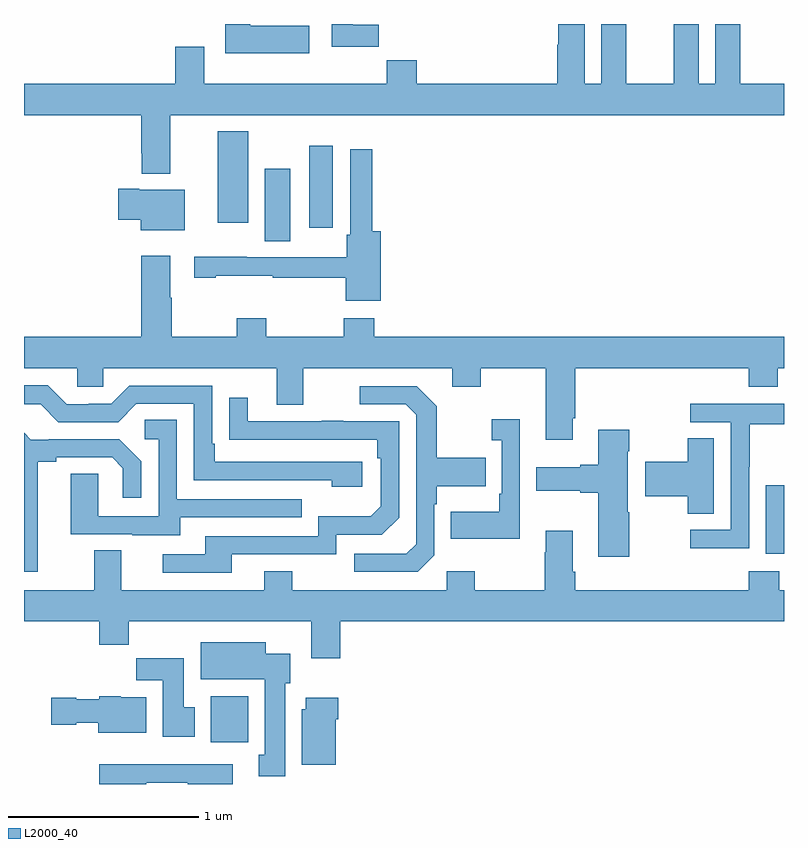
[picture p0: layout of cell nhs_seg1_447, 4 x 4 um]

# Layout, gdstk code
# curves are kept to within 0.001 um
import gdstk
lib = gdstk.Library(unit=1e-6, precision=1e-09)
def R(c, l, rs):  # rectangles x0, y0, x1, y1
    for r in rs: c.add(gdstk.rectangle(r[:2], r[2:], *l))
def P(c, l, *ps):  # polygons
    for p in ps: c.add(gdstk.Polygon(p, *l))
L2000_40 = (2000, 40)

nhs_seg1_447 = lib.new_cell('nhs_seg1_447')
R(nhs_seg1_447, L2000_40, [(135.983,560.42,136.18,560.662), (138.905,561.41,139,561.771), (136.268,563.056,136.402,563.437), (136.502,563.127,136.624,563.557), (136.019,563.154,136.18,563.635)])
P(nhs_seg1_447, L2000_40, [(136.501,564.19),(136.192,564.19),(136.192,564.199),(136.058,564.199),(136.058,564.044),(136.501,564.044)],
  [(136.868,564.196),(136.729,564.196),(136.729,564.199),(136.619,564.199),(136.619,564.078),(136.868,564.078)],
  [(135.769,563.72),(139,563.72),(139,563.884),(138.769,563.884),(138.769,564.199),(138.638,564.199),(138.638,563.884),(138.55,563.884),(138.55,564.199),(138.419,564.199),(138.419,563.884),(138.169,563.884),(138.169,564.199),(138.038,564.199),(138.038,563.884),(137.95,563.884),(137.95,564.199),(137.813,564.199),(137.813,564.089),(137.807,564.089),(137.807,563.884),(137.066,563.884),(137.066,564.008),(136.909,564.008),(136.909,563.884),(135.949,563.884),(135.949,564.079),(135.797,564.079),(135.797,563.884),(135,563.884),(135,563.72),(135.617,563.72),(135.617,563.518),(135.62,563.518),(135.62,563.411),(135.769,563.411)],
  [(136.877,563.107),(136.832,563.107),(136.832,563.539),(136.716,563.539),(136.716,563.091),(136.699,563.091),(136.699,562.972),(136.506,562.972),(136.506,562.971),(136.172,562.971),(136.172,562.973),(135.897,562.973),(135.897,562.863),(136.009,562.863),(136.009,562.873),(136.31,562.873),(136.31,562.863),(136.694,562.863),(136.694,562.743),(136.877,562.743)],
  [(135.847,563.326),(135.607,563.326),(135.607,563.331),(135.495,563.331),(135.495,563.168),(135.614,563.168),(135.614,563.114),(135.847,563.114)],
  [(137.887,562.123),(137.9,562.123),(137.9,562.388),(138.815,562.388),(138.815,562.289),(138.967,562.289),(138.967,562.388),(139,562.388),(139,562.552),(136.844,562.552),(136.844,562.651),(136.684,562.651),(136.684,562.552),(136.275,562.552),(136.275,562.651),(136.12,562.651),(136.12,562.552),(135.777,562.552),(135.777,562.757),(135.769,562.757),(135.769,562.978),(135.617,562.978),(135.617,562.552),(135,562.552),(135,562.388),(135.279,562.388),(135.279,562.29),(135.417,562.29),(135.417,562.388),(136.331,562.388),(136.331,562.194),(136.471,562.194),(136.471,562.388),(137.255,562.388),(137.255,562.289),(137.403,562.289),(137.403,562.388),(137.747,562.388),(137.747,562.011),(137.887,562.011)],
  [(136.78,561.894),(136.003,561.894),(136.003,561.991),(135.99,561.991),(135.99,562.296),(135.555,562.296),(135.459,562.2),(135.341,562.2),(135.341,562.197),(135.225,562.197),(135.125,562.297),(135,562.297),(135,562.197),(135.087,562.197),(135.18,562.104),(135.495,562.104),(135.591,562.2),(135.894,562.2),(135.894,561.798),(136.619,561.798),(136.619,561.764),(136.78,561.764)],
  [(137.16,561.402),(137.16,561.671),(137.173,561.671),(137.173,561.767),(137.429,561.767),(137.429,561.915),(137.173,561.915),(137.173,562.187),(137.067,562.293),(136.767,562.293),(136.767,562.197),(137.01,562.197),(137.064,562.143),(137.064,561.462),(137.013,561.411),(136.737,561.411),(136.737,561.315),(137.073,561.315)],
  [(136.093,561.408),(136.644,561.408),(136.644,561.51),(136.884,561.51),(136.974,561.6),(136.974,562.107),(136.679,562.107),(136.679,562.112),(136.567,562.112),(136.567,562.107),(136.177,562.107),(136.177,562.231),(136.081,562.231),(136.081,562.012),(136.858,562.011),(136.858,561.914),(136.878,561.914),(136.878,561.66),(136.825,561.607),(136.548,561.607),(136.548,561.504),(135.953,561.504),(135.953,561.408),(135.729,561.408),(135.729,561.312),(136.093,561.312)],
  [(138.816,561.868),(138.819,561.868),(138.819,562.092),(139,562.092),(139,562.2),(138.507,562.2),(138.507,562.104),(138.72,562.104),(138.72,561.537),(138.507,561.537),(138.507,561.439),(138.816,561.439)],
  [(137.61,562.12),(137.463,562.12),(137.463,562.007),(137.514,562.007),(137.514,561.727),(137.502,561.727),(137.502,561.631),(137.245,561.631),(137.245,561.491),(137.61,561.491)],
  [(135.823,561.603),(136.463,561.603),(136.463,561.699),(135.804,561.699),(135.804,562.115),(135.636,562.115),(135.636,562.014),(135.708,562.014),(135.708,561.609),(135.39,561.609),(135.39,561.833),(135.245,561.833),(135.245,561.513),(135.569,561.513),(135.569,561.509),(135.823,561.509)],
  [(138.186,561.629),(138.178,561.629),(138.178,561.95),(138.186,561.95),(138.186,562.063),(138.023,562.063),(138.023,561.878),(137.927,561.878),(137.927,561.865),(137.697,561.865),(137.697,561.743),(137.927,561.743),(137.927,561.731),(138.023,561.731),(138.023,561.396),(138.186,561.396)],
  [(135.073,561.896),(135.169,561.896),(135.169,561.918),(135.464,561.918),(135.521,561.861),(135.521,561.705),(135.618,561.705),(135.618,561.898),(135.502,562.014),(135.13,562.014),(135.13,562.011),(135.036,562.011),(135,562.047),(135,561.315),(135.073,561.315)],
  [(138.631,562.019),(138.493,562.019),(138.493,561.896),(138.27,561.896),(138.27,561.713),(138.493,561.713),(138.493,561.622),(138.631,561.622)],
  [(136.664,561.056),(139,561.056),(139,561.22),(138.975,561.22),(138.975,561.319),(138.815,561.319),(138.815,561.22),(137.9,561.22),(137.9,561.316),(137.887,561.316),(137.887,561.532),(137.747,561.532),(137.747,561.419),(137.74,561.419),(137.74,561.22),(137.373,561.22),(137.373,561.319),(137.226,561.319),(137.226,561.22),(136.413,561.22),(136.413,561.319),(136.265,561.319),(136.265,561.22),(135.511,561.22),(135.511,561.428),(135.371,561.428),(135.371,561.22),(135,561.22),(135,561.056),(135.395,561.056),(135.395,560.932),(135.551,560.932),(135.551,561.056),(136.511,561.056),(136.511,560.862),(136.664,560.862)],
  [(136.375,560.73),(136.402,560.73),(136.402,560.884),(136.273,560.884),(136.273,560.944),(135.929,560.944),(135.929,560.75),(136.268,560.75),(136.268,560.354),(136.235,560.354),(136.235,560.241),(136.375,560.241)],
  [(135.898,560.604),(135.841,560.604),(135.841,560.862),(135.592,560.862),(135.592,560.744),(135.731,560.744),(135.731,560.448),(135.898,560.448)],
  [(135.643,560.656),(135.51,560.656),(135.51,560.662),(135.396,560.662),(135.396,560.644),(135.276,560.644),(135.276,560.652),(135.144,560.652),(135.144,560.51),(135.276,560.51),(135.276,560.522),(135.392,560.522),(135.392,560.468),(135.643,560.468)],
  [(136.642,560.54),(136.655,560.54),(136.655,560.653),(136.484,560.653),(136.484,560.592),(136.463,560.592),(136.463,560.3),(136.642,560.3)],
  [(135.643,560.205),(135.863,560.205),(135.863,560.199),(136.099,560.199),(136.099,560.302),(135.395,560.302),(135.395,560.199),(135.643,560.199)])

lib.write_gds('nhs_seg1_447.gds')
